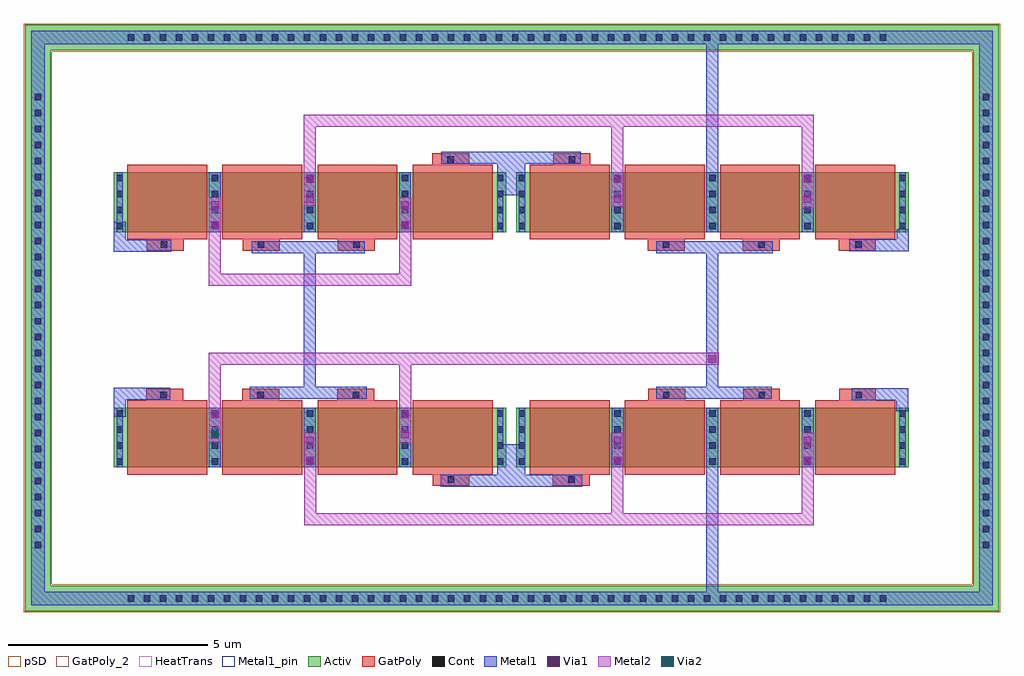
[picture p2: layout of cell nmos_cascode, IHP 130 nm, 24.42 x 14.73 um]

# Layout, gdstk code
from math import pi, radians
import gdstk
lib = gdstk.Library(unit=1e-6, precision=1e-09)
def R(c, l, rs):  # rectangles x0, y0, x1, y1
    for r in rs: c.add(gdstk.rectangle(r[:2], r[2:], *l))
def A(c, l, x, y, w, h, nx, ny, dx, dy):  # array of equal rectangles
    R(c, l, [(x+i*dx, y+j*dy, x+i*dx+w, y+j*dy+h) for i in range(nx) for j in range(ny)])
def P(c, l, *ps):  # polygons
    for p in ps: c.add(gdstk.Polygon(p, *l))
Activ = (1, 0)
GatPoly = (5, 0)
GatPoly_2 = (5, 2)
Cont = (6, 0)
Metal1 = (8, 0)
Metal1_pin = (8, 2)
Metal2 = (10, 0)
pSD = (14, 0)
Via1 = (19, 0)
Via2 = (29, 0)
HeatTrans = (51, 0)

nmos_1_1 = lib.new_cell('nmos$1$1')
A(nmos_1_1, Activ, 0, 0, 0.3, 0.3, 5, 1, 2.38, 0)
P(nmos_1_1, Activ, [(0,0),(0,1.5),(4.98,1.5),(9.82,1.5),(9.82,0)])
A(nmos_1_1, GatPoly, 0.34, -0.18, 2, 1.86, 4, 1, 2.38, 0)
R(nmos_1_1, GatPoly_2, [(0.34,-0.18,2.34,1.68)])
A(nmos_1_1, Cont, 0.07, 0.07, 0.16, 0.16, 5, 4, 2.38, 0.4)
R(nmos_1_1, Metal1, [(0.07,0,0.23,1.5), (9.59,0,9.75,1.5)])
R(nmos_1_1, Metal1_pin, [(0.07,0,0.23,1.5)])
A(nmos_1_1, HeatTrans, 0.34, -0.18, 2, 1.86, 4, 1, 2.38, 0)
nmos_1_1.add(gdstk.Label('nmos', (1.34,0.75), layer=63, texttype=0))
nmos_1_1.add(gdstk.Label('nmos', (8.48,0.75), layer=51, texttype=0))
nmos_1_1.add(gdstk.Label('nmos', (6.1,0.75), layer=51, texttype=0))
nmos_1_1.add(gdstk.Label('nmos', (3.72,0.75), layer=51, texttype=0))
nmos_1_1.add(gdstk.Label('nmos', (1.34,0.75), layer=51, texttype=0))

nmos_cascode = lib.new_cell('nmos_cascode')
R(nmos_cascode, GatPoly, [(-1.995,-4.18,-1.075,-3.88), (1.015,-4.18,1.935,-3.88), (-9.155,-2.055,-8.235,-1.755), (-6.755,-2.055,-5.835,-1.755), (-4.38,-2.055,-3.46,-1.755), (3.4,-2.055,4.32,-1.755), (5.775,-2.055,6.695,-1.755), (8.175,-2.055,9.095,-1.755), (-9.145,1.695,-8.225,1.995), (-6.745,1.695,-5.825,1.995), (-4.37,1.695,-3.45,1.995), (3.39,1.695,4.31,1.995), (5.765,1.695,6.685,1.995), (8.165,1.695,9.085,1.995), (-2.005,3.84,-1.085,4.14), (1.025,3.84,1.945,4.14)])
A(nmos_cascode, Cont, -9.62, -7.08, 0.16, 0.16, 24, 2, 0.4, 14.03)
A(nmos_cascode, Cont, -0.01, -7.08, 0.16, 0.16, 24, 1, 0.4, 0)
A(nmos_cascode, Cont, -11.95, -5.745, 0.16, 0.16, 1, 15, 0, 0.4)
A(nmos_cascode, Cont, 11.77, -5.745, 0.16, 0.16, 1, 15, 0, 0.4)
A(nmos_cascode, Cont, -11.95, 0.265, 0.16, 0.16, 1, 14, 0, 0.4)
A(nmos_cascode, Cont, 11.77, 0.265, 0.16, 0.16, 1, 14, 0, 0.4)
A(nmos_cascode, Cont, -0.01, 6.95, 0.16, 0.16, 12, 1, 0.4, 0)
A(nmos_cascode, Cont, 5.19, 6.95, 0.16, 0.16, 11, 1, 0.4, 0)
R(nmos_cascode, Cont, [(-1.62,-4.105,-1.46,-3.945), (1.4,-4.105,1.56,-3.945), (-8.805,-1.99,-8.645,-1.83), (-6.38,-1.99,-6.22,-1.83), (-3.99,-1.99,-3.83,-1.83), (3.77,-1.99,3.93,-1.83), (6.16,-1.99,6.32,-1.83), (8.585,-1.99,8.745,-1.83), (-8.795,1.77,-8.635,1.93), (-6.37,1.77,-6.21,1.93), (-3.98,1.77,-3.82,1.93), (3.76,1.77,3.92,1.93), (6.15,1.77,6.31,1.93), (8.575,1.77,8.735,1.93), (-1.63,3.905,-1.47,4.065), (1.41,3.905,1.57,4.065)])
P(nmos_cascode, Cont, [(4.79,6.95),(4.79,7.11),(4.95,7.11),(4.95,7.02),(4.95,6.95)])
R(nmos_cascode, Metal1, [(4.85,-7,5.155,-2.225), (-0.38,-3.95,0.325,-3.15), (-7.595,-3.725,-7.295,-2.225), (2.48,-3.725,2.78,-2.225), (7.235,-3.725,7.535,-2.225), (-2.835,-3.72,-2.535,-2.225), (-5.215,-3.715,-4.92,-2.225), (-7.6,2.165,-7.295,3.665), (-5.215,2.165,-4.92,3.665), (-2.83,2.165,-2.54,3.665), (2.475,2.165,2.78,3.665), (4.855,2.165,5.155,7.03), (7.235,2.165,7.535,3.665), (-0.385,3.085,0.325,3.885)])
R(nmos_cascode, Via1, [(-5.16,-3.65,-4.97,-3.46), (2.53,-3.65,2.72,-3.46), (7.29,-3.65,7.48,-3.46), (-5.16,-3.15,-4.97,-2.96), (2.53,-3.15,2.72,-2.96), (7.29,-3.15,7.48,-2.96), (-2.78,-2.99,-2.59,-2.8), (-7.54,-2.49,-7.35,-2.3), (-2.78,-2.49,-2.59,-2.3), (4.905,-1.11,5.095,-0.92), (-7.54,2.24,-7.35,2.43), (-2.78,2.24,-2.59,2.43), (-7.54,2.74,-7.35,2.93), (-2.78,2.74,-2.59,2.93), (-5.16,2.9,-4.97,3.09), (2.53,2.9,2.72,3.09), (7.29,2.9,7.48,3.09), (-5.16,3.4,-4.97,3.59), (2.53,3.4,2.72,3.59), (7.29,3.4,7.48,3.59)])
R(nmos_cascode, Via2, [(-7.54,-2.99,-7.35,-2.8)])
nmos_cascode.add(gdstk.FlexPath([(-11.55,-7),(5.145,-7),(11.85,-7),(11.85,7.03),(4.99,7.03),(-11.87,7.03),(-11.87,-7.32)], 0.64, ends="flush", simple_path=True, layer=1, datatype=0))  # Activ
nmos_cascode.add(gdstk.FlexPath([(-8.53,1.825),(-9.82,1.825),(-9.82,2.42)], 0.3, ends="flush", simple_path=True, layer=8, datatype=0))  # Metal1
nmos_cascode.add(gdstk.FlexPath([(-8.555,-1.88),(-9.82,-1.88),(-9.82,-2.455)], 0.3, ends="flush", simple_path=True, layer=8, datatype=0))  # Metal1
nmos_cascode.add(gdstk.FlexPath([(-1.785,4.02),(1.705,4.02)], 0.3, ends="flush", simple_path=True, layer=8, datatype=0))  # Metal1
nmos_cascode.add(gdstk.FlexPath([(-1.79,-4.06),(1.75,-4.06)], 0.3, ends="flush", simple_path=True, layer=8, datatype=0))  # Metal1
nmos_cascode.add(gdstk.FlexPath([(8.495,-1.89),(9.755,-1.89),(9.755,-2.32)], 0.3, ends="flush", simple_path=True, layer=8, datatype=0))  # Metal1
nmos_cascode.add(gdstk.FlexPath([(8.425,1.83),(9.765,1.83),(9.765,2.235)], 0.3, ends="flush", simple_path=True, layer=8, datatype=0))  # Metal1
nmos_cascode.add(gdstk.FlexPath([(5.005,1.77),(5.005,-1.85)], 0.3, ends="flush", simple_path=True, layer=8, datatype=0))  # Metal1
nmos_cascode.add(gdstk.FlexPath([(3.595,1.79),(6.52,1.79)], 0.3, ends="flush", simple_path=True, layer=8, datatype=0))  # Metal1
nmos_cascode.add(gdstk.FlexPath([(3.595,-1.85),(6.485,-1.85)], 0.3, ends="flush", simple_path=True, layer=8, datatype=0))  # Metal1
nmos_cascode.add(gdstk.FlexPath([(-5.07,1.77),(-5.07,-1.85)], 0.3, ends="flush", simple_path=True, layer=8, datatype=0))  # Metal1
nmos_cascode.add(gdstk.FlexPath([(-3.69,1.79),(-6.525,1.79)], 0.3, ends="flush", simple_path=True, layer=8, datatype=0))  # Metal1
nmos_cascode.add(gdstk.FlexPath([(-3.64,-1.85),(-6.57,-1.85)], 0.3, ends="flush", simple_path=True, layer=8, datatype=0))  # Metal1
nmos_cascode.add(gdstk.FlexPath([(-11.7,-7),(11.85,-7),(11.85,7.03),(-11.87,7.03),(-11.87,-7.17)], 0.34, ends="flush", simple_path=True, layer=8, datatype=0))  # Metal1
nmos_cascode.add(gdstk.FlexPath([(-11.52,-7),(11.85,-7),(11.85,7.03),(-11.87,7.03),(-11.87,-7.35)], 0.7, ends="flush", simple_path=True, layer=14, datatype=0))  # pSD
nmos_cascode.add(gdstk.FlexPath([(-2.675,-1.01),(5.165,-1.01)], 0.3, ends="flush", simple_path=True, layer=10, datatype=0))  # Metal2
nmos_cascode.add(gdstk.FlexPath([(-7.45,-3.095),(-7.45,-1.01),(-2.685,-1.01),(-2.685,-3.115)], 0.3, ends="flush", simple_path=True, layer=10, datatype=0))  # Metal2
nmos_cascode.add(gdstk.FlexPath([(-7.45,3.035),(-7.45,0.975),(-2.685,0.975),(-2.685,3.035)], 0.3, ends="flush", simple_path=True, layer=10, datatype=0))  # Metal2
nmos_cascode.add(gdstk.FlexPath([(2.625,-2.855),(2.625,-5.025)], 0.3, ends="flush", simple_path=True, layer=10, datatype=0))  # Metal2
nmos_cascode.add(gdstk.FlexPath([(-5.06,-2.855),(-5.06,-5.025),(7.385,-5.025),(7.385,-2.855)], 0.3, ends="flush", simple_path=True, layer=10, datatype=0))  # Metal2
nmos_cascode.add(gdstk.FlexPath([(2.625,2.795),(2.625,4.955)], 0.3, ends="flush", simple_path=True, layer=10, datatype=0))  # Metal2
nmos_cascode.add(gdstk.FlexPath([(-5.065,2.82),(-5.065,4.955),(7.385,4.955),(7.385,2.81),(7.385,2.765)], 0.3, ends="flush", simple_path=True, layer=10, datatype=0))  # Metal2
nmos_cascode.add(gdstk.Reference(nmos_1_1, (-9.975,2.165)))
nmos_cascode.add(gdstk.Reference(nmos_1_1, (-9.975,-3.725)))
nmos_cascode.add(gdstk.Reference(nmos_1_1, (9.915,2.165), rotation=pi, x_reflection=True))
nmos_cascode.add(gdstk.Reference(nmos_1_1, (9.915,-3.725), rotation=pi, x_reflection=True))

lib.write_gds('nmos_cascode.gds')
